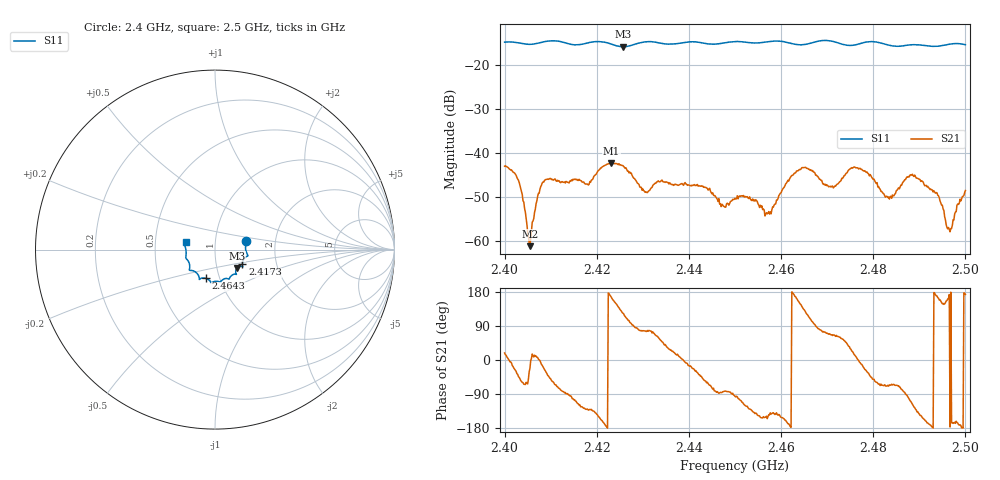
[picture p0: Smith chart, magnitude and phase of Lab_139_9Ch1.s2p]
# Hz S RI R 50
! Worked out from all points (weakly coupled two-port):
!   601 points, 2.4 GHz to 2.5 GHz, reference 50 ohm
!   highest |S21| = -42.41 dB at 2.4232 GHz (marker M1); lowest = -61.3 dB at 2.4055 GHz (marker M2)
!   lowest |S11| = -15.9 dB at 2.4257 GHz (marker M3), VSWR 1.38, Z = 62.4 - j13.1 ohm
!   |S11| at or under -10 dB: start of sweep to end of sweep
!   S12 and S22 are empty: the file has one direction only
!   S11 on the Smith chart (normalised r, x): 2.4 GHz: 1.41, +0.14; 2.4173 GHz: 1.34, -0.23; 2.4643 GHz: 0.86, -0.28; 2.5 GHz: 0.72, +0.06
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2.4e9  0.1733 0.0497  0.00665 0.00222  0 0  0 0
2.402833e9  0.174 0.0363  0.00397 -0.00307  0 0  0 0
2.4055e9  0.17 0.00724  0.000805 -0.000317  0 0  0 0
2.408667e9  0.1807 -0.0264  0.00437 -0.00209  0 0  0 0
2.416667e9  0.1529 -0.0745  -0.00261 -0.004  0 0  0 0
2.417333e9  0.1524 -0.0819  -0.00271 -0.00357  0 0  0 0
2.423167e9  0.1435 -0.0935  -0.00733 0.0019  0 0  0 0
2.425667e9  0.1224 -0.1022  -0.00396 0.00592  0 0  0 0
2.430333e9  0.1188 -0.137  0.000832 0.00355  0 0  0 0
2.433333e9  0.1129 -0.1369  0.00241 0.00413  0 0  0 0
2.4475e9  0.0376 -0.1719  0.000282 -0.00244  0 0  0 0
2.45e9  0.0295 -0.1809  -0.000311 -0.00303  0 0  0 0
2.457333e9  -0.0155 -0.182  -0.00173 -0.00125  0 0  0 0
2.464333e9  -0.0505 -0.1603  -0.00537 0.00368  0 0  0 0
2.466667e9  -0.0763 -0.1597  -0.0013 0.00607  0 0  0 0
2.471e9  -0.0869 -0.1631  0.00165 0.0038  0 0  0 0
2.477e9  -0.1268 -0.1167  0.00659 -0.000614  0 0  0 0
2.483333e9  -0.1408 -0.0894  0.00112 -0.00292  0 0  0 0
2.488667e9  -0.1618 -0.0478  -0.00274 -0.00474  0 0  0 0
2.493833e9  -0.1618 -0.00339  -0.00343 0.000666  0 0  0 0
2.4965e9  -0.169 0.0235  -0.00134 0.000171  0 0  0 0
2.5e9  -0.1633 0.042  -0.00368 0.000448  0 0  0 0
